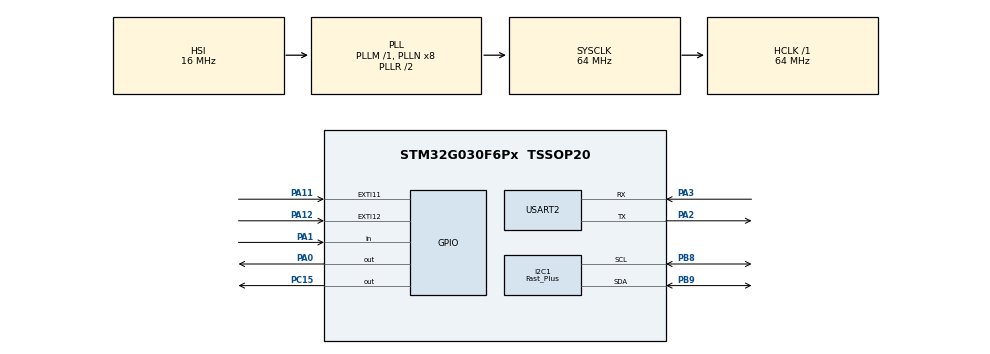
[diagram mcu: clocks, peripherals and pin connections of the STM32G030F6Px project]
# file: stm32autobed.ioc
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I2C1.I2C_Speed_Mode=I2C_Fast_Plus
I2C1.Timing=0x00300B29
Mcu.Family=STM32G0
Mcu.Name=STM32G030F6Px
Mcu.Package=TSSOP20
NVIC.EXTI4_15_IRQn=true\:0\:0\:false\:false\:true\:true\:true\:true
PA0.GPIO_PuPd=GPIO_PULLUP
PA0.PinState=GPIO_PIN_RESET
PA0.Signal=GPIO_Output
PA1.GPIO_PuPd=GPIO_PULLUP
PA1.Signal=GPIO_Input
PA11\ [PA9].GPIO_ModeDefaultEXTI=GPIO_MODE_IT_RISING_FALLING
PA11\ [PA9].GPIO_PuPd=GPIO_PULLUP
PA11\ [PA9].Signal=GPXTI11
PA12\ [PA10].GPIO_ModeDefaultEXTI=GPIO_MODE_IT_RISING_FALLING
PA12\ [PA10].GPIO_PuPd=GPIO_PULLUP
PA12\ [PA10].Signal=GPXTI12
PA13.Mode=Serial_Wire
PA13.Signal=SYS_SWDIO
PA14-BOOT0.Mode=Serial_Wire
PA14-BOOT0.Signal=SYS_SWCLK
PA14-BOOT0__PA15.StandardMode=true
PA2.Mode=Asynchronous
PA2.Signal=USART2_TX
PA3.Mode=Asynchronous
PA3.Signal=USART2_RX
PB0__PB1__PB2__PA8.StandardMode=true
PB3__PB4__PB5__PB6.StandardMode=true
PB7__PB8.StandardMode=true
PB8.Mode=I2C
PB8.Signal=I2C1_SCL
PB9.Mode=I2C
PB9.Signal=I2C1_SDA
PC14-OSC32_IN\ (PC14)__PB9.StandardMode=true
PC15-OSC32_OUT\ (PC15).GPIO_PuPd=GPIO_PULLUP
PC15-OSC32_OUT\ (PC15).PinState=GPIO_PIN_SET
PC15-OSC32_OUT\ (PC15).Signal=GPIO_Output
ProjectManager.HeapSize=0x200
ProjectManager.StackSize=0x400
ProjectManager.TargetToolchain=MDK-ARM V5.32
RCC.ADCFreq_Value=64000000
RCC.AHBFreq_Value=64000000
RCC.CortexFreq_Value=64000000
RCC.EXTERNAL_CLOCK_VALUE=12288000
RCC.HCLKFreq_Value=64000000
RCC.HSE_VALUE=8000000
RCC.HSI_VALUE=16000000
RCC.LSE_VALUE=32768
RCC.SYSCLKFreq_VALUE=64000000
RCC.SYSCLKSource=RCC_SYSCLKSOURCE_PLLCLK
RCC.VCOOutputFreq_Value=128000000
USART2.Parity=PARITY_NONE
USART2.VirtualMode-Asynchronous=VM_ASYNC
board=custom

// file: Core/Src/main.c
/* USER CODE BEGIN Header */
/**
  ******************************************************************************
  * @file           : main.c
  * @brief          : Main program body
  ******************************************************************************
  * @attention
  *
  * Copyright (c) 2023 STMicroelectronics.
  * All rights reserved.
  *
  * This software is licensed under terms that can be found in the LICENSE file
  * in the root directory of this software component.
  * If no LICENSE file comes with this software, it is provided AS-IS.
  *
  ******************************************************************************
  */
/* USER CODE END Header */
#include "main.h"
#include "i2c.h"
#include "usart.h"
#include "gpio.h"

/* USER CODE BEGIN PV */
#include "flash.h"
/* USER CODE END PV */

void SystemClock_Config(void);
/* USER CODE BEGIN PFP */
#define POINTS 75

int filter_s = 0, filter_n = 0, filter_s_old = 0;
unsigned char num = 0;
unsigned short table_point[POINTS];

/* LED behaviour:
 * 0: off    (disconnected & out of range)
 * 1: on     (disconnected & metal detected)
 * 2: flash  (connected & metal detected)
 * 3: blink  (connected & out of range) */
int led_status = 0;
int connected_flag = 0;            /* set once a host read completes */

/* Firmware version string, streamed to the host when reading address 1016 */
const unsigned char sensor_info[20] = {'V','1','.','2','d',' ','p','a','n','d','a','p','i','3','d','\n','\0'};

/* Busy-wait delay of ~nus, calibrated for the 64 MHz system clock */
void for_delay_us(uint32_t nus)
{
    uint32_t Delay = nus * 64 / 64;
    do
    {
        __NOP();
    }
    while (Delay--);
}

#define delay_ms   HAL_Delay

#define LED_ON  HAL_GPIO_WritePin(GPIOB, GPIO_PIN_3, GPIO_PIN_SET)
#define LED_OFF HAL_GPIO_WritePin(GPIOB, GPIO_PIN_3, GPIO_PIN_RESET)

/* Software 2-wire slave bus (ported from an 8051 design where CLK was the
 * INT0 pin P3.2 and SDA was the INT1 pin P3.3) */
#define CLK_I2C_R HAL_GPIO_ReadPin(GPIOA, GPIO_PIN_11)
#define SDA_I2C_R HAL_GPIO_ReadPin(GPIOA, GPIO_PIN_12)

int SDA_int_or_output = 0;         /* 0: PA12 is EXTI input, 1: PA12 is open-drain output */

/* Reconfigure PA12 (SDA) as edge-triggered interrupt input */
void SDA_AS_INT()
{
    GPIO_InitTypeDef GPIO_InitStruct = {0};

    GPIO_InitStruct.Pin  = GPIO_PIN_12;
    GPIO_InitStruct.Mode = GPIO_MODE_IT_RISING_FALLING;
    GPIO_InitStruct.Pull = GPIO_PULLUP;
    HAL_GPIO_Init(GPIOA, &GPIO_InitStruct);
    SDA_int_or_output = 0;
}

/* Reconfigure PA12 (SDA) as open-drain output */
void SDA_AS_output()
{
    GPIO_InitTypeDef GPIO_InitStruct = {0};

    GPIO_InitStruct.Pin   = GPIO_PIN_12;
    GPIO_InitStruct.Mode  = GPIO_MODE_OUTPUT_OD;
    GPIO_InitStruct.Pull  = GPIO_PULLUP;
    GPIO_InitStruct.Speed = GPIO_SPEED_FREQ_LOW;
    HAL_GPIO_Init(GPIOA, &GPIO_InitStruct);
    SDA_int_or_output = 1;
}

/* Drive the SDA line (switches PA12 to output first if needed) */
void SDA_I2C_W(int vl)
{
    if (SDA_int_or_output == 0)
        SDA_AS_output();
    HAL_GPIO_WritePin(GPIOA, GPIO_PIN_12, vl);
}

/* Comparator output of the oscillator circuit */
#define Q3_pin HAL_GPIO_ReadPin(GPIOA, GPIO_PIN_1)

/* Software emulations of the 8051 EX0/EX1 interrupt-enable bits:
 * EX0 gates the CLK edge interrupt, EX1 gates the SDA edge interrupt */
int EX0 = 0, EX1 = 0;

/* Slave state machine:
 * -2: switch mode (SDA driven as the probe output)
 * -1: idle
 *  0: start condition seen
 *  1: clock high, sampling the R/W bit
 *  2: reading (shifting the 11-bit data word out)
 *  3: writing (shifting the 11-bit address word in)
 *  4: writing data (bits counted only, payload unused)
 *  5: transfer finished */
int I2C_status = -1;
int switch_value = -1;             /* >= 0: switch mode active, holds the trigger threshold */

unsigned short data_addr = 0;      /* last address received from the master (10-bit payload) */
unsigned short data_i = 0;         /* bit counter of the word being shifted */
unsigned short on_data = 0, off_data = 0, on_send_data = 0;
unsigned int i2c_timeout = 0;
unsigned short data_send = 0;

/* Readout selector, also used as a streaming counter:
 * 0:                calibrated distance in 0.1 mm units
 * 1:                raw oscillator value
 * 2 .. POINTS+1:    calibration table entries
 * POINTS+2 .. +21:  version string characters */
unsigned char read_raw = 0;

char tmp_d, need_flash = 0;        /* need_flash: 1 clear table, 2/3 erase+save to flash, 4 reboot */
char flash_flag = 0;
unsigned int i2c_timeout_j = 0;

/* Append an even-parity bit (bit 10) to a 10-bit value */
unsigned short Add_OddEven(unsigned short byte)
{
    unsigned char i;
    unsigned char n;               /* count of set bits */
    unsigned short r;              /* result */

    n = 0;
    for (i = 0; i < 10; i++)
    {
        if (((byte >> i) & 0x01) == 0x01)
        {
            n++;
        }
    }
    if ((n & 0x01) == 0x01)
    {
        r = byte | 0x400;          /* odd count of ones: set the parity bit */
    }
    else
    {
        r = byte | 0x00;           /* even count of ones: leave the parity bit clear */
    }
    return r;
}

#define BYTE_CHECK_OK     0x01
#define BYTE_CHECK_ERR    0x00

/* Verify the even-parity bit (bit 10) of an 11-bit word.
 * Returns BYTE_CHECK_OK when the parity matches, BYTE_CHECK_ERR otherwise. */
unsigned short Check_OddEven(unsigned short byte)
{
    unsigned char i;
    unsigned char n;               /* count of set bits */
    unsigned char r;               /* result */

    n = 0;
    for (i = 0; i < 10; i++)
    {
        if (((byte >> i) & 0x01) == 0x01)
        {
            n++;
        }
    }
    if ((byte >> 10) == (n & 0x01))   /* parity bit must equal the count of ones */
    {
        r = BYTE_CHECK_OK;
    }
    else
    {
        r = BYTE_CHECK_ERR;
    }
    return r;
}

/* Convert a raw oscillator value to a distance using the calibration table.
 * Pass 1 (always): find the nearest calibrated entry (skips 0xffff entries).
 * Pass 2 (Tdata == 1): linear interpolation between neighbouring entries,
 * giving the distance in 0.1 mm units, clamped to 1022. */
unsigned short cover_to_distance(unsigned short raw_data, unsigned char Tdata)
{
    unsigned short d_i, d_j, d_x, i;

    d_j = 0;
    d_x = 0;
    d_i = 0xffff;
    for (i = 0; i < POINTS; i++)
    {
        if (table_point[i] != 0xffff)
        {
            if (raw_data > table_point[i])
                d_j = raw_data - table_point[i];
            else
                d_j = table_point[i] - raw_data;
            if (d_i > d_j)         /* keep the closest match seen so far */
            {
                d_i = d_j;
                d_x = i;
            }
        }
    }
    if (Tdata == 1)
    {
        if (raw_data > table_point[d_x])
        {
            /* interpolate towards the next entry */
            d_i = (raw_data - table_point[d_x]) * 10;
            d_j = ((table_point[d_x + 1] - table_point[d_x]) * 10 / 10);
            if (d_j > 0)
                d_x = d_x * 10 + d_i / d_j;
            else
                d_x = d_x * 10;
        }
        else
        {
            if (d_x >= 1)
            {
                /* interpolate towards the previous entry */
                d_i = (table_point[d_x] - raw_data) * 10;
                d_j = ((table_point[d_x] - table_point[d_x - 1]) * 10 / 10);
                if (d_j > 0)
                    d_x = d_x * 10 - d_i / d_j;
                else
                    d_x = d_x * 10;
            }
        }
    }

    if (d_x > 1023)
        d_x = 1022;
    return d_x;
}

#include <stdio.h>
#define I2C_ADDRESS 0x2F          /* 7-bit address of the excitation chip on hardware I2C1 */
int extt = 0;                     /* last EXTI edge seen, debug aid */

#define COUNTOF(__BUFFER__)   (sizeof(__BUFFER__) / sizeof(*(__BUFFER__)))
#define TXBUFFERSIZE          (COUNTOF(aTxBuffer) - 1)
/* Size of reception buffer */
#define RXBUFFERSIZE          TXBUFFERSIZE

/* CLK edge interrupt handler: runs the software 2-wire slave state machine */
void clk_int_callback(void)
{
    i2c_timeout++;
    switch (I2C_status)
    {
        case -2:                  /* switch mode: a CLK level change exits it */
            if (CLK_I2C_R == 1)
            {
                I2C_status = -1;
                i2c_timeout = 0;
                switch_value = -1;
                EX0 = 0;
                EX1 = 1;
                SDA_AS_INT();
            }
            break;

        case 0:                   /* start seen: wait for CLK low and SDA low */
            if (CLK_I2C_R == 0 && SDA_I2C_R == 0)
            {
                I2C_status = 1;
                i2c_timeout_j = 0;
            }
            else
            {
                i2c_timeout++;
            }
            break;

        case 1:                   /* first clock high: sample the R/W bit */
            if (CLK_I2C_R == 1)
            {
                if (SDA_I2C_R)
                {
                    I2C_status = 2;               /* read */
                    /* select the word to shift out */
                    if (read_raw == 0)
                        data_send = Add_OddEven(on_send_data);
                    else if (read_raw == 1)
                        data_send = Add_OddEven(on_data);
                    else if (read_raw >= 2 && read_raw < (POINTS + 2))
                    {
                        data_send = table_point[read_raw - 2];
                        data_send = Add_OddEven(data_send);
                        read_raw++;
                    }
                    else if (read_raw >= (POINTS + 2) && read_raw < (POINTS + 2 + 20))
                    {
                        data_send = sensor_info[read_raw - 2 - POINTS];
                        data_send = Add_OddEven(data_send);
                        read_raw++;
                    }
                }
                else
                {
                    I2C_status = 3;               /* write */
                    data_addr = 0;
                }
                data_i = 0;
            }
            break;

        case 2:                   /* read: shift data_send out MSB first on CLK low */
            if (CLK_I2C_R == 0)
            {
                if (data_i > 10)
                {
                    data_i = 0;
                    i2c_timeout = 0;
                    I2C_status = 5;
                    connected_flag = 1;
                    break;
                }
                SDA_I2C_W(((data_send >> (10 - data_i)) & 0x01));
                data_i++;
            }
            break;

        case 3:                   /* write: shift the address in MSB first on CLK high */
            if (CLK_I2C_R == 1)
            {
                if (SDA_I2C_R)
                    data_addr = (data_addr | (1 << (10 - data_i)));
                data_i++;
                if (data_i > 10)
                {
                    data_i = 0;
                    I2C_status = 5;
                    EX0 = 0;      /* disable CLK edges */
                    EX1 = 1;      /* enable SDA edges, wait for the stop condition */
                    SDA_AS_INT();
                    if (Check_OddEven(data_addr) == BYTE_CHECK_ERR)
                        break;
                    data_addr = (data_addr & 0x3ff);
                    if (switch_value >= 0 && data_addr < 900)
                    {
                        /* update the probe trigger threshold */
                        switch_value = data_addr;
                        I2C_status = -3;
                        break;
                    }
                    if (data_addr < POINTS)
                    {
                        /* calibration: store the current raw value for this point */
                        table_point[data_addr] = on_data;
                    }
                    else if (data_addr == 1020)          /* read raw data */
                    {
                        read_raw = 1;
                    }
                    else if (data_addr == 1019)          /* start calibration */
                    {
                        need_flash = 1;
                    }
                    else if (data_addr == 1016)          /* read version data */
                    {
                        read_raw = POINTS + 2;
                    }
                    else if (data_addr == 1021)          /* finish calibration: erase and save to flash */
                    {
                        need_flash = 2;
                    }
                    else if (data_addr == 1017)          /* read calibration data */
                    {
                        read_raw = 2;
                    }
                    else if (data_addr == 1018)          /* end reading calibration/version data */
                    {
                        read_raw = 0;
                    }
                    else if (data_addr == 1022)          /* reboot */
                    {
                        need_flash = 4;
                    }
                    else if (data_addr == 1023)          /* enter switch mode: send 1023, send the trigger
                                                           value, then SDA becomes the probe output; a CLK
                                                           level change exits switch mode */
                    {
                        switch_value = 0;
                    }
                }
            }
            break;

        case 4:                   /* write data: count the bits, payload unused */
            if (CLK_I2C_R == 0)
            {
                data_i++;
                if (data_i > 9)
                {
                    data_i = 0;
                    I2C_status = 5;
                }
            }
            break;

        case 5:                   /* transfer finished: arm stop detection */
            EX0 = 0;
            EX1 = 1;
            SDA_AS_INT();
            break;

        default:
            break;
    }
}

/* SDA edge interrupt handler: start/stop condition detection */
void sda_int_callback()
{
    EX0 = 0;

    switch (I2C_status)
    {
        case 0:
        case -1:
            if ((SDA_I2C_R == 0) && CLK_I2C_R)      /* start condition */
            {
                I2C_status = 0;
                data_i = 0;
                EX1 = 0;          /* disable SDA edges */
                EX0 = 1;          /* enable CLK edges */
            }
            break;

        case 2:
        case 4:
        case 5:
            break;

        default:
            break;
    }

    if ((SDA_I2C_R == 1) && CLK_I2C_R)              /* stop condition */
    {
        if (I2C_status == -3)     /* switch-mode threshold just written */
        {
            EX0 = 1;
            EX1 = 0;
            SDA_AS_output();
            i2c_timeout = 0;
            I2C_status = -2;
            return;
        }
        else
            I2C_status = -1;
        EX0 = 0;
        EX1 = 1;
        SDA_AS_INT();
        i2c_timeout = 0;
    }
}

void HAL_GPIO_EXTI_Rising_Callback(uint16_t GPIO_Pin)
{
    if (GPIO_Pin == GPIO_PIN_11)
    {
        extt = 1;
        if (EX0)
            clk_int_callback();
    }
    else if (GPIO_Pin == GPIO_PIN_12)
    {
        extt = 3;
        if (EX1)
            sda_int_callback();
    }
}

void HAL_GPIO_EXTI_Falling_Callback(uint16_t GPIO_Pin)
{
    if (GPIO_Pin == GPIO_PIN_11)
    {
        extt = 2;
        if (EX0)
            clk_int_callback();
    }
    else if (GPIO_Pin == GPIO_PIN_12)
    {
        extt = 4;
        if (EX1)
            sda_int_callback();
    }
}

/* Write one command word to the excitation chip on hardware I2C1.
 * The 2-byte frame packs the 6-bit command and the upper bits of DAT. */
char I2C_TransmitData(uint16_t i2c_address, unsigned char command, unsigned short DAT)
{
    uint8_t txbuf[3];

    command = (command << 2) | (DAT >> 8);
    i2c_address = i2c_address << 1;
    txbuf[0] = command;
    txbuf[1] = DAT & 0xff;

    if (HAL_I2C_Master_Transmit(&hi2c1, (uint16_t)i2c_address, (uint8_t *)txbuf, 2, 1000) != HAL_OK)
    {
        USART2_printf(" i2c error2\r\n");
        if (HAL_I2C_GetError(&hi2c1) != HAL_I2C_ERROR_AF)
        {
            USART2_printf(" i2c error\r\n");
            return 1;
        }
    }
    return (0);
}

/* USER CODE END PFP */

/* USER CODE BEGIN 0 */
uint8_t aTxBuffer[] = " test  ";   /* test buffer referenced by the TXBUFFERSIZE macro */

/* USER CODE BEGIN PFP */

/* USER CODE END PFP */

/* Private user code ---------------------------------------------------------*/
/* USER CODE BEGIN 0 */
/* Bus watchdog: reset the slave state machine when a transfer stalls
 * mid-frame, and execute the reboot request (need_flash == 4). */
void time_out_process()
{
    if (I2C_status >= 0)
        i2c_timeout++;
    else
        i2c_timeout = 0;

    if (I2C_status == -1)
        i2c_timeout_j++;
    else
        i2c_timeout_j = 0;

    if ((i2c_timeout > 5000 && I2C_status != -2) || need_flash == 4)   /* 5000 calls is about 1 s */
    {
        need_flash = 0;
        i2c_timeout = 0;
        I2C_status = -1;
        EX0 = 0;
        EX1 = 1;
        SDA_AS_INT();
        NVIC_SystemReset();
    }
}

#define T_HOLD    220            /* legacy tuning constant, currently unused */

void init_T1(void)
{
}

unsigned int T_MAX = 1015;                              /* sweep upper limit: out of range */
unsigned int T_MIN = 10, out_range_count = 0, timer_count = 0;;

#define Del 1                                           /* sweep step size */

/* Background task called from the main loop: drives the switch-mode probe
 * output, the status LED, the bus watchdog and deferred flash operations. */
void command_process(void)
{
    unsigned int i = 0;

    if (I2C_status == -2)
    {
        /* switch mode: drive SDA from the measured distance */
        if (on_data > 750)
            SDA_I2C_W(0);
        if (switch_value != 1)
        {
            if (on_send_data <= switch_value)
                SDA_I2C_W(1);
            else
                SDA_I2C_W(0);
        }
    }
    out_range_count++;
    timer_count++;
    if (out_range_count > 2000)     /* no comparator edge for a while: out of range */
    {
        on_send_data = on_data = T_MAX;
        out_range_count = 0;
        USART2_printf("out of range:%d %d\n", I2C_status, switch_value);
    }

    /* LED status:
     * connected & metal detected  -> fast flash
     * connected & out of range     -> slow flash
     * disconnected & metal         -> solid on
     * disconnected & out of range  -> off */
    if (on_data < 750 && connected_flag && on_data)
    {
        led_status = 2;
        if ((timer_count % 300) == 0)
            GPIOB->ODR ^= (1 << 3);
    }
    else if (on_data > 750 && connected_flag)
    {
        led_status = 3;
        if ((timer_count % 10000) == 0)
            GPIOB->ODR ^= (1 << 3);
    }
    else if (on_data < 900 && (connected_flag == 0) && on_data)
    {
        led_status = 1;
        LED_ON;
    }
    else if (on_data > 900 && (connected_flag == 0))
    {
        led_status = 0;
        LED_OFF;
    }

    time_out_process();

    if (need_flash == 2)            /* calibration finished: erase the storage page */
    {
        need_flash = 3;
        USART2_printf("Erase \n");
        stm32_FLASH_ErasePage(STM32_FLASH_BASE);
        delay_ms(100);
    }
    else if (need_flash == 3)       /* then store the calibration table */
    {
        need_flash = 0;
        USART2_printf("saveing to flash ===\n");
        STMFLASH_Write_64(STM32_FLASH_BASE, (unsigned char *)table_point, POINTS * 2);
        for (i = 0; i < POINTS; i++)
        {
            USART2_printf(" ,%d ", table_point[i]);
            delay_ms(1);
        }
    }
    else if (need_flash == 1)       /* start calibration: clear the table */
    {
        need_flash = 0;
        for (i = 0; i < POINTS; i++)
            table_point[i] = 0xffff;
    }
}

#define C_ON  1                   /* Q3_pin levels */
#define C_OFF 0
#define addr2 0x2f

#define abs_i(a,b) (a>b?(a-b):(b-a))

/* USER CODE END 0 */

int main(void)
{
  /* USER CODE BEGIN 1 */
    int i = 0;
    int rdata = 0, of_data = 0;
    int old_on_data, old_of_data;
    int j = 0;
    int ret = 0;
    switch_value = -1;

  /* USER CODE END 1 */

  /* MCU Configuration--------------------------------------------------------*/

  /* Reset of all peripherals, Initializes the Flash interface and the Systick. */
  HAL_Init();

  /* Configure the system clock */
  SystemClock_Config();

  /* Initialize all configured peripherals */
  MX_GPIO_Init();
  MX_I2C1_Init();
  MX_USART2_UART_Init();
  /* USER CODE BEGIN 2 */
    LED_ON;

    /* reset the excitation/AD chip */
    HAL_GPIO_WritePin(GPIOA, GPIO_PIN_0, GPIO_PIN_RESET);
    HAL_Delay(100);
    HAL_GPIO_WritePin(GPIOA, GPIO_PIN_0, GPIO_PIN_SET);
    HAL_Delay(100);

    delay_ms(100);

    /* load the calibration table from the last flash page */
    for (i = 0; i < POINTS; i++)
    {
        table_point[i] = STMFLASH_ReadByte(STM32_FLASH_BASE + i * 2 + 1) << 8 | STMFLASH_ReadByte(STM32_FLASH_BASE + i * 2);
        USART2_printf("%d:%u; ", i, table_point[i]);
    }

    USART2_printf((char *)sensor_info);
    rdata = T_MIN;
    on_send_data = on_data = 0;   /*1010*/
    HAL_GPIO_WritePin(GPIOC, GPIO_PIN_15, GPIO_PIN_RESET);
    EX0 = 0;
    EX1 = 1;
    LED_OFF;

    /* initial excitation chip setup */
    I2C_TransmitData(0x2f, 0x07, 0x02);
    I2C_TransmitData(addr2, 0x07, 0x02);

    /* Main loop: triangular sweep of the excitation value. The comparator
     * (Q3_pin) flips when the oscillator starts/stops, and the sweep value
     * at that edge is the raw reading for the current distance. */
    while (1)
    {
        /* background commands processing */
        command_process();

        /* oscillator still running: no target in range, sweep up */
        while (Q3_pin == C_ON)
        {
            command_process();
            ret = I2C_TransmitData(0x2f, 1, rdata);
            if (ret > 0)
                USART2_printf("err0:%d,", ret);
            rdata += j;
            if (rdata <= T_MIN)
            {
                j = Del;
                rdata = T_MIN;
            }
            else if (rdata >= T_MAX)
            {
                j = -Del;
                rdata = T_MAX;
            }
            /* poll for the comparator to trip */
            i = 0;
            while (i < 10)
            {
                for_delay_us(100);
                if (Q3_pin == C_OFF)
                {
                    for_delay_us(1000);
                    break;
                }
                i++;
            }
            if (Q3_pin == C_OFF)
            {
                out_range_count = 0;
                on_data = rdata;   /* captured raw value at the trip point */
                j = Del;
                break;
            }
        }

        /* oscillator stopped: target detected, sweep down until it restarts */
        while (Q3_pin == C_OFF)
        {
            command_process();
            ret = I2C_TransmitData(0x2f, 1, rdata);
            if (ret > 0)
                USART2_printf("err1:%d,", ret);
            rdata += j;
            if (rdata <= T_MIN)
            {
                j = Del;
                rdata = T_MIN;
            }
            else if (rdata >= T_MAX)
            {
                j = -Del;
                rdata = T_MAX;
            }
            i = 0;
            while (i < 10)
            {
                for_delay_us(100);
                if (Q3_pin == C_ON) break;
                i++;
            }
            if (Q3_pin == C_ON)
            {
                out_range_count = 0;
                of_data = rdata;

                /* switch mode 1: filtered press detection on SDA */
                if (I2C_status == -2 && switch_value == 1)
                {
                    filter_s += on_data;
                    filter_n++;
                    if (filter_n >= 1)
                    {
                        filter_n = 0;
                        /* stable within +/-4 counts and in range: press */
                        if ((abs_i(filter_s, filter_s_old) < 4) && on_data < 750)
                        {
                            SDA_I2C_W(1);
                            USART2_printf(" press %d,%d,%d\n", on_data, filter_s, filter_s_old);
                        }
                        else
                        {
                            SDA_I2C_W(0);
                        }
                        if (filter_s != filter_s_old)
                            filter_s_old = filter_s;
                        filter_s = 0;
                    }
                }

                /* new reading: convert and report */
                if (old_on_data != on_data || old_of_data != of_data)
                {
                    old_on_data = on_data;
                    old_of_data = of_data;
                    on_send_data = cover_to_distance(on_data, 1);
                    USART2_printf("%d,%d\n", on_data, I2C_status);
                }
                j = -Del;
                break;
            }
        }
    }

  /* USER CODE END 2 */

  /* Infinite loop */
  while (1)
  {

  }
}

void SystemClock_Config(void)
{
  RCC_OscInitTypeDef RCC_OscInitStruct = {0};
  RCC_ClkInitTypeDef RCC_ClkInitStruct = {0};

  /** Configure the main internal regulator output voltage
  */
  HAL_PWREx_ControlVoltageScaling(PWR_REGULATOR_VOLTAGE_SCALE1);

  /** Initializes the RCC Oscillators according to the specified parameters
  * in the RCC_OscInitTypeDef structure.
  */
  RCC_OscInitStruct.OscillatorType = RCC_OSCILLATORTYPE_HSI;
  RCC_OscInitStruct.HSIState = RCC_HSI_ON;
  RCC_OscInitStruct.HSIDiv = RCC_HSI_DIV1;
  RCC_OscInitStruct.HSICalibrationValue = RCC_HSICALIBRATION_DEFAULT;
  RCC_OscInitStruct.PLL.PLLState = RCC_PLL_ON;
  RCC_OscInitStruct.PLL.PLLSource = RCC_PLLSOURCE_HSI;
  RCC_OscInitStruct.PLL.PLLM = RCC_PLLM_DIV1;
  RCC_OscInitStruct.PLL.PLLN = 8;
  RCC_OscInitStruct.PLL.PLLP = RCC_PLLP_DIV2;
  RCC_OscInitStruct.PLL.PLLR = RCC_PLLR_DIV2;
  if (HAL_RCC_OscConfig(&RCC_OscInitStruct) != HAL_OK)
  {
    Error_Handler();
  }

  /** Initializes the CPU, AHB and APB buses clocks
  */
  RCC_ClkInitStruct.ClockType = RCC_CLOCKTYPE_HCLK|RCC_CLOCKTYPE_SYSCLK
                              |RCC_CLOCKTYPE_PCLK1;
  RCC_ClkInitStruct.SYSCLKSource = RCC_SYSCLKSOURCE_PLLCLK;
  RCC_ClkInitStruct.AHBCLKDivider = RCC_SYSCLK_DIV1;
  RCC_ClkInitStruct.APB1CLKDivider = RCC_HCLK_DIV1;

  if (HAL_RCC_ClockConfig(&RCC_ClkInitStruct, FLASH_LATENCY_2) != HAL_OK)
  {
    Error_Handler();
  }
}

void Error_Handler(void)
{
  /* USER CODE BEGIN Error_Handler_Debug */
  /* User can add his own implementation to report the HAL error return state */
  return;
  __disable_irq();
  while (1)
  {
  }
  /* USER CODE END Error_Handler_Debug */
}
